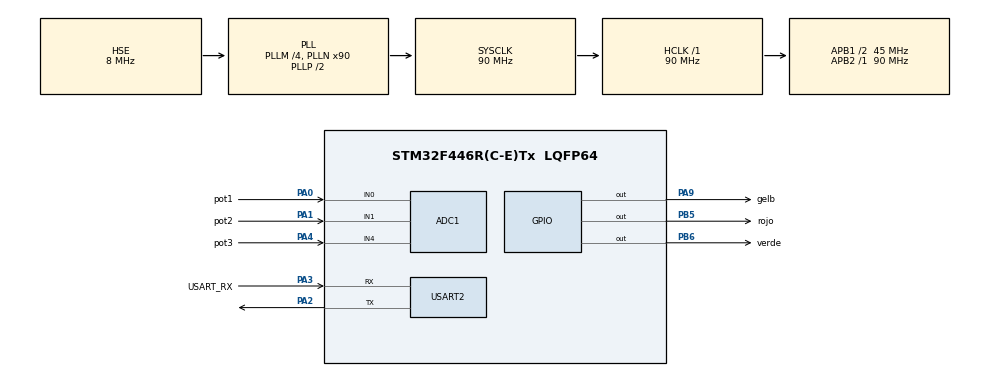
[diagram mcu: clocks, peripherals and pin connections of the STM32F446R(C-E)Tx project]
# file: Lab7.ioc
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ADC1.Channel-0\#ChannelRegularConversion=ADC_CHANNEL_0
ADC1.Channel-3\#ChannelInjectedConversion=ADC_CHANNEL_0
ADC1.Channel-4\#ChannelRegularConversion=ADC_CHANNEL_1
ADC1.Channel-5\#ChannelRegularConversion=ADC_CHANNEL_4
ADC1.ContinuousConvMode=ENABLE
ADC1.DMAContinuousRequests=ENABLE
ADC1.EOCSelection=ADC_EOC_SEQ_CONV
ADC1.InjNumberOfConversion=1
ADC1.InjectedOffset-3\#ChannelInjectedConversion=0
ADC1.InjectedRank-3\#ChannelInjectedConversion=1
ADC1.NbrOfConversion=3
ADC1.NbrOfConversionFlag=1
ADC1.Rank-0\#ChannelRegularConversion=1
ADC1.Rank-4\#ChannelRegularConversion=2
ADC1.Rank-5\#ChannelRegularConversion=3
ADC1.SamplingTime-0\#ChannelRegularConversion=ADC_SAMPLETIME_56CYCLES
ADC1.SamplingTime-3\#ChannelInjectedConversion=ADC_SAMPLETIME_3CYCLES
ADC1.SamplingTime-4\#ChannelRegularConversion=ADC_SAMPLETIME_112CYCLES
ADC1.SamplingTime-5\#ChannelRegularConversion=ADC_SAMPLETIME_480CYCLES
ADC1.ScanConvMode=ENABLE
ADC1.master=1
Dma.ADC1.0.Direction=DMA_PERIPH_TO_MEMORY
Dma.ADC1.0.FIFOMode=DMA_FIFOMODE_DISABLE
Dma.ADC1.0.Instance=DMA2_Stream0
Dma.ADC1.0.MemDataAlignment=DMA_MDATAALIGN_HALFWORD
Dma.ADC1.0.MemInc=DMA_MINC_ENABLE
Dma.ADC1.0.Mode=DMA_CIRCULAR
Dma.ADC1.0.PeriphDataAlignment=DMA_PDATAALIGN_HALFWORD
Dma.ADC1.0.PeriphInc=DMA_PINC_DISABLE
Dma.ADC1.0.Priority=DMA_PRIORITY_LOW
Dma.Request0=ADC1
Mcu.Family=STM32F4
Mcu.Name=STM32F446R(C-E)Tx
Mcu.Package=LQFP64
NVIC.DMA2_Stream0_IRQn=true\:0\:0\:false\:false\:true\:false\:true\:true
NVIC.PriorityGroup=NVIC_PRIORITYGROUP_0
PA0-WKUP.GPIO_Label=pot1
PA0-WKUP.Signal=ADCx_IN0
PA1.GPIO_Label=pot2
PA1.Signal=ADCx_IN1
PA13.GPIO_Label=TMS
PA13.Signal=SYS_JTMS-SWDIO
PA14.GPIO_Label=TCK
PA14.Signal=SYS_JTCK-SWCLK
PA2.Mode=Asynchronous
PA2.Signal=USART2_TX
PA3.GPIO_Label=USART_RX
PA3.Mode=Asynchronous
PA3.Signal=USART2_RX
PA4.GPIO_Label=pot3
PA4.Signal=ADCx_IN4
PA9.GPIO_Label=gelb
PA9.Signal=GPIO_Output
PB3.GPIO_Label=SWO
PB3.Signal=SYS_JTDO-SWO
PB5.GPIO_Label=rojo
PB5.Signal=GPIO_Output
PB6.GPIO_Label=verde
PB6.Signal=GPIO_Output
PC14-OSC32_IN.Signal=RCC_OSC32_IN
PC15-OSC32_OUT.Signal=RCC_OSC32_OUT
PH0-OSC_IN.Mode=HSE-External-Oscillator
PH0-OSC_IN.Signal=RCC_OSC_IN
PH1-OSC_OUT.Mode=HSE-External-Oscillator
PH1-OSC_OUT.Signal=RCC_OSC_OUT
ProjectManager.HeapSize=0x200
ProjectManager.StackSize=0x400
ProjectManager.TargetToolchain=STM32CubeIDE
RCC.AHBFreq_Value=90000000
RCC.APB1CLKDivider=RCC_HCLK_DIV2
RCC.APB1Freq_Value=45000000
RCC.APB1TimFreq_Value=90000000
RCC.APB2Freq_Value=90000000
RCC.APB2TimFreq_Value=90000000
RCC.CortexFreq_Value=90000000
RCC.FLatency-AdvancedSettings=FLASH_LATENCY_2
RCC.HCLKFreq_Value=90000000
RCC.HSE_VALUE=8000000
RCC.HSI_VALUE=16000000
RCC.LSE_VALUE=32768
RCC.PLLM=4
RCC.PLLN=90
RCC.PLLSourceVirtual=RCC_PLLSOURCE_HSE
RCC.SYSCLKFreq_VALUE=90000000
RCC.SYSCLKSource=RCC_SYSCLKSOURCE_PLLCLK
RCC.USBFreq_Value=90000000
RCC.VCOOutputFreq_Value=180000000
SH.ADCx_IN0.0=ADC1_IN0,IN0
SH.ADCx_IN1.0=ADC1_IN1,IN1
SH.ADCx_IN4.0=ADC1_IN4,IN4
USART2.VirtualMode=VM_ASYNC
board=NUCLEO-F446RE

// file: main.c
/* USER CODE BEGIN Header */
/**
  ******************************************************************************
  * @file           : main.c
  * @brief          : Main program body
  ******************************************************************************
  * @attention
  *
  * Copyright (c) 2026 STMicroelectronics.
  * All rights reserved.
  *
  * This software is licensed under terms that can be found in the LICENSE file
  * in the root directory of this software component.
  * If no LICENSE file comes with this software, it is provided AS-IS.
  *
  ******************************************************************************
  */
/* USER CODE END Header */
#include "main.h"

/* USER CODE BEGIN Includes */
#include <stdio.h>
#include <string.h>
/* USER CODE END Includes */

/* USER CODE BEGIN PD */
#define POT1_MIN 0
#define POT1_MAX 1500

#define POT2_MIN 1501
#define POT2_MAX 3000

#define POT3_MIN 3001
#define POT3_MAX 4095
/* USER CODE END PD */

ADC_HandleTypeDef hadc1;
DMA_HandleTypeDef hdma_adc1;

UART_HandleTypeDef huart2;

/* USER CODE BEGIN PV */
uint16_t adcBuffer[3] = {0};

volatile uint16_t pot1 = 0;
volatile uint16_t pot2 = 0;
volatile uint16_t pot3 = 0;

char mensaje [100];
/* USER CODE END PV */

void SystemClock_Config(void);
static void MX_GPIO_Init(void);
static void MX_DMA_Init(void);
static void MX_ADC1_Init(void);
static void MX_USART2_UART_Init(void);

int main(void)
{

  /* MCU Configuration--------------------------------------------------------*/

  /* Reset of all peripherals, Initializes the Flash interface and the Systick. */
  HAL_Init();

  /* Configure the system clock */
  SystemClock_Config();

  /* Initialize all configured peripherals */
  MX_GPIO_Init();
  MX_DMA_Init();
  MX_ADC1_Init();
  MX_USART2_UART_Init();
  /* USER CODE BEGIN 2 */
  if (HAL_ADC_Start_DMA(&hadc1, (uint32_t*)adcBuffer, 3) != HAL_OK)
  {
      Error_Handler();
  }
  /* USER CODE END 2 */

  /* Infinite loop */
  /* USER CODE BEGIN WHILE */
  while (1)
  {
      // Lecturas ADC mediante DMA
      pot1 = adcBuffer[0];
      pot2 = adcBuffer[1];
      pot3 = adcBuffer[2];

      // Alarma potenciometro 1 - LED verde
      if (pot1 < POT1_MIN || pot1 > POT1_MAX)
      {
          HAL_GPIO_WritePin(verde_GPIO_Port, verde_Pin, GPIO_PIN_SET);
      }
      else
      {
          HAL_GPIO_WritePin(verde_GPIO_Port, verde_Pin, GPIO_PIN_RESET);
      }

      // Alarma potenciometro 2 - LED rojo
      if (pot2 < POT2_MIN || pot2 > POT2_MAX)
      {
          HAL_GPIO_WritePin(gelb_GPIO_Port, gelb_Pin, GPIO_PIN_SET);
      }
      else
      {
          HAL_GPIO_WritePin(gelb_GPIO_Port, gelb_Pin, GPIO_PIN_RESET);
      }

      // Alarma potenciometro 3 - LED amarillo
      if (pot3 < POT3_MIN || pot3 > POT3_MAX)
      {
          HAL_GPIO_WritePin(rojo_GPIO_Port, rojo_Pin, GPIO_PIN_SET);
      }
      else
      {
          HAL_GPIO_WritePin(rojo_GPIO_Port, rojo_Pin, GPIO_PIN_RESET);
      }

      // Enviar lecturas a Hercules
      snprintf(mensaje, sizeof(mensaje),
               "Potenciometro 1: %u\r\n"
               "Potenciometro 2: %u\r\n"
               "Potenciometro 3: %u\r\n"
               "----------------------\r\n",
               (unsigned int)pot1,
               (unsigned int)pot2,
               (unsigned int)pot3);

      HAL_UART_Transmit(&huart2,
                        (uint8_t*)mensaje,
                        strlen(mensaje),
                        HAL_MAX_DELAY);

      HAL_Delay(500);

      /* USER CODE END WHILE */

  }
}

void SystemClock_Config(void)
{
  RCC_OscInitTypeDef RCC_OscInitStruct = {0};
  RCC_ClkInitTypeDef RCC_ClkInitStruct = {0};

  /** Configure the main internal regulator output voltage
  */
  __HAL_RCC_PWR_CLK_ENABLE();
  __HAL_PWR_VOLTAGESCALING_CONFIG(PWR_REGULATOR_VOLTAGE_SCALE3);

  /** Initializes the RCC Oscillators according to the specified parameters
  * in the RCC_OscInitTypeDef structure.
  */
  RCC_OscInitStruct.OscillatorType = RCC_OSCILLATORTYPE_HSE;
  RCC_OscInitStruct.HSEState = RCC_HSE_ON;
  RCC_OscInitStruct.PLL.PLLState = RCC_PLL_ON;
  RCC_OscInitStruct.PLL.PLLSource = RCC_PLLSOURCE_HSE;
  RCC_OscInitStruct.PLL.PLLM = 4;
  RCC_OscInitStruct.PLL.PLLN = 90;
  RCC_OscInitStruct.PLL.PLLP = RCC_PLLP_DIV2;
  RCC_OscInitStruct.PLL.PLLQ = 2;
  RCC_OscInitStruct.PLL.PLLR = 2;
  if (HAL_RCC_OscConfig(&RCC_OscInitStruct) != HAL_OK)
  {
    Error_Handler();
  }

  /** Initializes the CPU, AHB and APB buses clocks
  */
  RCC_ClkInitStruct.ClockType = RCC_CLOCKTYPE_HCLK|RCC_CLOCKTYPE_SYSCLK
                              |RCC_CLOCKTYPE_PCLK1|RCC_CLOCKTYPE_PCLK2;
  RCC_ClkInitStruct.SYSCLKSource = RCC_SYSCLKSOURCE_PLLCLK;
  RCC_ClkInitStruct.AHBCLKDivider = RCC_SYSCLK_DIV1;
  RCC_ClkInitStruct.APB1CLKDivider = RCC_HCLK_DIV2;
  RCC_ClkInitStruct.APB2CLKDivider = RCC_HCLK_DIV1;

  if (HAL_RCC_ClockConfig(&RCC_ClkInitStruct, FLASH_LATENCY_2) != HAL_OK)
  {
    Error_Handler();
  }
}

static void MX_ADC1_Init(void)
{

  ADC_ChannelConfTypeDef sConfig = {0};
  ADC_InjectionConfTypeDef sConfigInjected = {0};

  /** Configure the global features of the ADC (Clock, Resolution, Data Alignment and number of conversion)
  */
  hadc1.Instance = ADC1;
  hadc1.Init.ClockPrescaler = ADC_CLOCK_SYNC_PCLK_DIV4;
  hadc1.Init.Resolution = ADC_RESOLUTION_12B;
  hadc1.Init.ScanConvMode = ENABLE;
  hadc1.Init.ContinuousConvMode = ENABLE;
  hadc1.Init.DiscontinuousConvMode = DISABLE;
  hadc1.Init.ExternalTrigConvEdge = ADC_EXTERNALTRIGCONVEDGE_NONE;
  hadc1.Init.ExternalTrigConv = ADC_SOFTWARE_START;
  hadc1.Init.DataAlign = ADC_DATAALIGN_RIGHT;
  hadc1.Init.NbrOfConversion = 3;
  hadc1.Init.DMAContinuousRequests = ENABLE;
  hadc1.Init.EOCSelection = ADC_EOC_SEQ_CONV;
  if (HAL_ADC_Init(&hadc1) != HAL_OK)
  {
    Error_Handler();
  }

  /** Configure for the selected ADC regular channel its corresponding rank in the sequencer and its sample time.
  */
  sConfig.Channel = ADC_CHANNEL_0;
  sConfig.Rank = 1;
  sConfig.SamplingTime = ADC_SAMPLETIME_56CYCLES;
  if (HAL_ADC_ConfigChannel(&hadc1, &sConfig) != HAL_OK)
  {
    Error_Handler();
  }

  /** Configure for the selected ADC regular channel its corresponding rank in the sequencer and its sample time.
  */
  sConfig.Channel = ADC_CHANNEL_1;
  sConfig.Rank = 2;
  sConfig.SamplingTime = ADC_SAMPLETIME_112CYCLES;
  if (HAL_ADC_ConfigChannel(&hadc1, &sConfig) != HAL_OK)
  {
    Error_Handler();
  }

  /** Configure for the selected ADC regular channel its corresponding rank in the sequencer and its sample time.
  */
  sConfig.Channel = ADC_CHANNEL_4;
  sConfig.Rank = 3;
  sConfig.SamplingTime = ADC_SAMPLETIME_480CYCLES;
  if (HAL_ADC_ConfigChannel(&hadc1, &sConfig) != HAL_OK)
  {
    Error_Handler();
  }

  /** Configures for the selected ADC injected channel its corresponding rank in the sequencer and its sample time
  */
  sConfigInjected.InjectedChannel = ADC_CHANNEL_0;
  sConfigInjected.InjectedRank = 1;
  sConfigInjected.InjectedNbrOfConversion = 1;
  sConfigInjected.InjectedSamplingTime = ADC_SAMPLETIME_3CYCLES;
  sConfigInjected.ExternalTrigInjecConvEdge = ADC_EXTERNALTRIGINJECCONVEDGE_NONE;
  sConfigInjected.ExternalTrigInjecConv = ADC_INJECTED_SOFTWARE_START;
  sConfigInjected.AutoInjectedConv = DISABLE;
  sConfigInjected.InjectedDiscontinuousConvMode = DISABLE;
  sConfigInjected.InjectedOffset = 0;
  if (HAL_ADCEx_InjectedConfigChannel(&hadc1, &sConfigInjected) != HAL_OK)
  {
    Error_Handler();
  }

}

static void MX_USART2_UART_Init(void)
{

  huart2.Instance = USART2;
  huart2.Init.BaudRate = 115200;
  huart2.Init.WordLength = UART_WORDLENGTH_8B;
  huart2.Init.StopBits = UART_STOPBITS_1;
  huart2.Init.Parity = UART_PARITY_NONE;
  huart2.Init.Mode = UART_MODE_TX_RX;
  huart2.Init.HwFlowCtl = UART_HWCONTROL_NONE;
  huart2.Init.OverSampling = UART_OVERSAMPLING_16;
  if (HAL_UART_Init(&huart2) != HAL_OK)
  {
    Error_Handler();
  }

}

static void MX_DMA_Init(void)
{

  /* DMA controller clock enable */
  __HAL_RCC_DMA2_CLK_ENABLE();

  /* DMA interrupt init */
  /* DMA2_Stream0_IRQn interrupt configuration */
  HAL_NVIC_SetPriority(DMA2_Stream0_IRQn, 0, 0);
  HAL_NVIC_EnableIRQ(DMA2_Stream0_IRQn);

}

static void MX_GPIO_Init(void)
{
  GPIO_InitTypeDef GPIO_InitStruct = {0};

  /* GPIO Ports Clock Enable */
  __HAL_RCC_GPIOC_CLK_ENABLE();
  __HAL_RCC_GPIOH_CLK_ENABLE();
  __HAL_RCC_GPIOA_CLK_ENABLE();
  __HAL_RCC_GPIOB_CLK_ENABLE();

  /*Configure GPIO pin Output Level */
  HAL_GPIO_WritePin(gelb_GPIO_Port, gelb_Pin, GPIO_PIN_RESET);

  /*Configure GPIO pin Output Level */
  HAL_GPIO_WritePin(GPIOB, rojo_Pin|verde_Pin, GPIO_PIN_RESET);

  /*Configure GPIO pin : gelb_Pin */
  GPIO_InitStruct.Pin = gelb_Pin;
  GPIO_InitStruct.Mode = GPIO_MODE_OUTPUT_PP;
  GPIO_InitStruct.Pull = GPIO_NOPULL;
  GPIO_InitStruct.Speed = GPIO_SPEED_FREQ_LOW;
  HAL_GPIO_Init(gelb_GPIO_Port, &GPIO_InitStruct);

  /*Configure GPIO pins : rojo_Pin verde_Pin */
  GPIO_InitStruct.Pin = rojo_Pin|verde_Pin;
  GPIO_InitStruct.Mode = GPIO_MODE_OUTPUT_PP;
  GPIO_InitStruct.Pull = GPIO_NOPULL;
  GPIO_InitStruct.Speed = GPIO_SPEED_FREQ_LOW;
  HAL_GPIO_Init(GPIOB, &GPIO_InitStruct);

}

void Error_Handler(void)
{
  __disable_irq();
  while (1)
  {
  }
}
